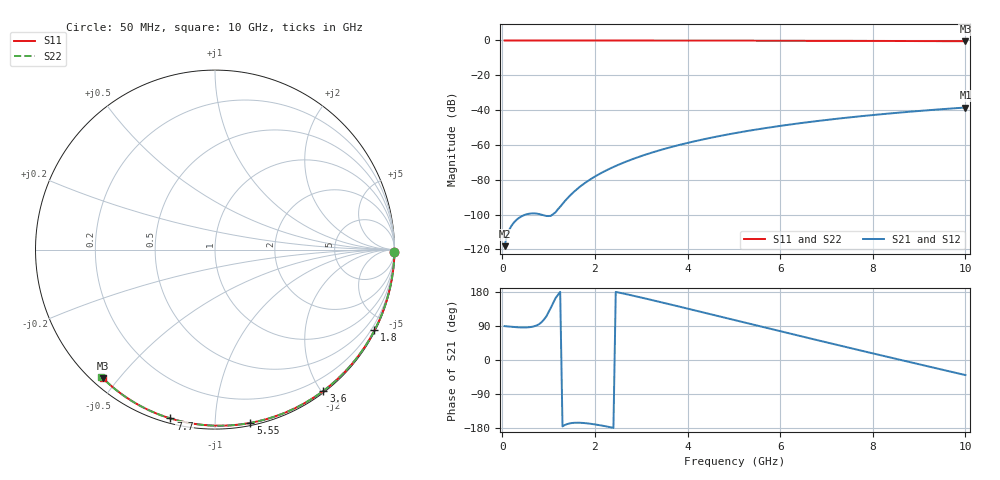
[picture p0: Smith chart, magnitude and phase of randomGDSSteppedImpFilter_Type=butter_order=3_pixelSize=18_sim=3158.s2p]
! freq	dB(S11)	phase(S11)	dB(S12)	phase(S12)
!  dB(S21)	phase(S21)	dB(S22)	phase(S22)
!S-par simulation data
#  GHz  S  DB  R 50
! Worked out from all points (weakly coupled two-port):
!   200 points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, 50 MHz to 10 GHz, reference 50 ohm
!   highest |S21| = -38.51 dB at 10 GHz (marker M1); lowest = -118.1 dB at 50 MHz (marker M2)
!   lowest |S11| = -0.4 dB at 10 GHz (marker M3), VSWR 39.23, Z = 1.54 - j22.7 ohm
!   |S11| at or under -10 dB: nowhere
!   |S22| runs from -0.4 to 0.0 dB; largest |S21 - S12| = 0
!   S11 on the Smith chart (normalised r, x): 50 MHz: open; 1.8 GHz: 0.04, -4.19; 3.6 GHz: 0.02, -2.03; 5.55 GHz: 0.02, -1.22; 7.7 GHz: 0.02, -0.77; 10 GHz: 0.03, -0.45
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0.05  -0.00 -0.8  -118.14 89.4  -118.14 89.4  -0.00 -0.8
0.45  -0.01 -6.8  -100.55 85.8  -100.55 85.8  -0.01 -6.8
0.9  -0.02 -13.6  -100.49 106.8  -100.49 106.8  -0.02 -13.6
1.75  -0.03 -26.1  -82.52 -166.2  -82.52 -166.2  -0.03 -26.3
1.8  -0.03 -26.9  -81.57 -166.7  -81.57 -166.7  -0.03 -27.0
1.9  -0.04 -28.3  -79.79 -168.1  -79.79 -168.1  -0.04 -28.5
2.05  -0.04 -30.5  -77.39 -170.9  -77.39 -170.9  -0.04 -30.7
2.25  -0.04 -33.4  -74.55 -175.3  -74.55 -175.3  -0.04 -33.6
2.45  -0.05 -36.3  -72.05 179.7  -72.05 179.7  -0.05 -36.5
2.65  -0.05 -39.2  -69.82 174.5  -69.82 174.5  -0.05 -39.4
3  -0.06 -44.1  -66.39 164.8  -66.39 164.8  -0.06 -44.4
3.4  -0.07 -49.7  -63.04 153.3  -63.04 153.3  -0.07 -50.0
3.6  -0.07 -52.5  -61.55 147.5  -61.55 147.5  -0.07 -52.8
4.3  -0.09 -62.1  -57.03 126.7  -57.03 126.7  -0.09 -62.4
5.05  -0.11 -72.0  -53.10 104.4  -53.10 104.4  -0.11 -72.4
5.55  -0.13 -78.5  -50.87 89.4  -50.87 89.4  -0.13 -78.9
6.1  -0.15 -85.4  -48.70 73.1  -48.70 73.1  -0.15 -85.8
6.7  -0.18 -92.8  -46.60 55.4  -46.60 55.4  -0.18 -93.3
7.7  -0.24 -104.8  -43.62 26.1  -43.62 26.1  -0.24 -105.3
8.35  -0.29 -112.4  -41.96 7.4  -41.96 7.4  -0.29 -112.9
9.15  -0.36 -121.5  -40.16 -15.5  -40.16 -15.5  -0.36 -122.1
10  -0.44 -131.1  -38.51 -39.8  -38.51 -39.8  -0.45 -131.8
